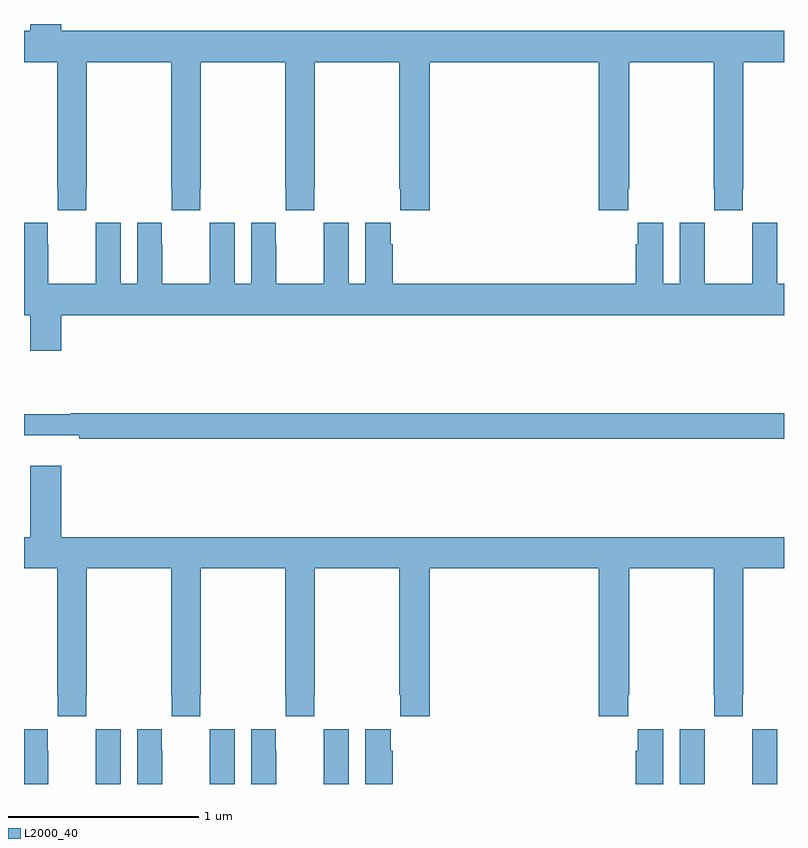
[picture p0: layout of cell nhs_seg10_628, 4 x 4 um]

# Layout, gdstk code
import gdstk
lib = gdstk.Library(unit=1e-6, precision=1e-09)
def P(c, l, *ps):  # polygons
    for p in ps: c.add(gdstk.Polygon(p, *l))
L2000_40 = (2000, 40)

nhs_seg10_628 = lib.new_cell('nhs_seg10_628')
P(nhs_seg10_628, L2000_40, [(141.327,1315.633),(141.33,1315.633),(141.33,1316.3),(141.775,1316.3),(141.775,1315.633),(141.777,1315.633),(141.777,1315.521),(141.927,1315.521),(141.927,1315.633),(141.93,1315.633),(141.93,1316.3),(142.375,1316.3),(142.375,1315.633),(142.377,1315.633),(142.377,1315.521),(142.527,1315.521),(142.527,1315.633),(142.53,1315.633),(142.53,1316.3),(142.975,1316.3),(142.975,1315.633),(142.981,1315.633),(142.981,1315.521),(143.135,1315.521),(143.135,1316.3),(144.026,1316.3),(144.026,1315.521),(144.179,1315.521),(144.179,1315.633),(144.186,1315.633),(144.186,1316.3),(144.631,1316.3),(144.631,1315.633),(144.633,1315.633),(144.633,1315.521),(144.783,1315.521),(144.783,1315.633),(144.786,1315.633),(144.786,1316.3),(145,1316.3),(145,1316.464),(141.196,1316.464),(141.196,1316.5),(141.032,1316.5),(141.032,1316.464),(141,1316.464),(141,1316.3),(141.175,1316.3),(141.175,1315.633),(141.177,1315.633),(141.177,1315.521),(141.327,1315.521)],
  [(145,1315.132),(144.964,1315.132),(144.964,1315.453),(144.834,1315.453),(144.834,1315.34),(144.833,1315.34),(144.833,1315.132),(144.583,1315.132),(144.583,1315.34),(144.582,1315.34),(144.582,1315.453),(144.452,1315.453),(144.452,1315.132),(144.364,1315.132),(144.364,1315.453),(144.23,1315.453),(144.23,1315.34),(144.221,1315.34),(144.221,1315.132),(142.94,1315.132),(142.94,1315.34),(142.93,1315.34),(142.93,1315.453),(142.796,1315.453),(142.796,1315.132),(142.708,1315.132),(142.708,1315.453),(142.578,1315.453),(142.578,1315.34),(142.577,1315.34),(142.577,1315.132),(142.327,1315.132),(142.327,1315.34),(142.326,1315.34),(142.326,1315.453),(142.196,1315.453),(142.196,1315.132),(142.108,1315.132),(142.108,1315.453),(141.978,1315.453),(141.978,1315.34),(141.977,1315.34),(141.977,1315.132),(141.727,1315.132),(141.727,1315.34),(141.726,1315.34),(141.726,1315.453),(141.596,1315.453),(141.596,1315.132),(141.508,1315.132),(141.508,1315.453),(141.378,1315.453),(141.378,1315.34),(141.377,1315.34),(141.377,1315.132),(141.127,1315.132),(141.127,1315.34),(141.126,1315.34),(141.126,1315.453),(141,1315.453),(141,1314.968),(141.032,1314.968),(141.032,1314.78),(141.196,1314.78),(141.196,1314.968),(145,1314.968)],
  [(145,1314.452),(141.245,1314.452),(141.245,1314.445),(141,1314.445),(141,1314.335),(141.292,1314.335),(141.292,1314.316),(145,1314.316)],
  [(141.327,1312.969),(141.33,1312.969),(141.33,1313.636),(141.775,1313.636),(141.775,1312.969),(141.777,1312.969),(141.777,1312.857),(141.927,1312.857),(141.927,1312.969),(141.93,1312.969),(141.93,1313.636),(142.375,1313.636),(142.375,1312.969),(142.377,1312.969),(142.377,1312.857),(142.527,1312.857),(142.527,1312.969),(142.53,1312.969),(142.53,1313.636),(142.975,1313.636),(142.975,1312.969),(142.981,1312.969),(142.981,1312.857),(143.135,1312.857),(143.135,1313.636),(144.026,1313.636),(144.026,1312.857),(144.179,1312.857),(144.179,1312.969),(144.186,1312.969),(144.186,1313.636),(144.631,1313.636),(144.631,1312.969),(144.633,1312.969),(144.633,1312.857),(144.783,1312.857),(144.783,1312.969),(144.786,1312.969),(144.786,1313.636),(145,1313.636),(145,1313.8),(141.196,1313.8),(141.196,1314.175),(141.032,1314.175),(141.032,1313.8),(141,1313.8),(141,1313.636),(141.175,1313.636),(141.175,1312.969),(141.177,1312.969),(141.177,1312.857),(141.327,1312.857)],
  [(142.108,1312.789),(141.978,1312.789),(141.978,1312.676),(141.977,1312.676),(141.977,1312.5),(142.108,1312.5)],
  [(141.508,1312.789),(141.378,1312.789),(141.378,1312.676),(141.377,1312.676),(141.377,1312.5),(141.508,1312.5)],
  [(141.727,1312.676),(141.726,1312.676),(141.726,1312.789),(141.596,1312.789),(141.596,1312.5),(141.727,1312.5)],
  [(142.327,1312.676),(142.326,1312.676),(142.326,1312.789),(142.196,1312.789),(142.196,1312.5),(142.327,1312.5)],
  [(142.708,1312.789),(142.578,1312.789),(142.578,1312.676),(142.577,1312.676),(142.577,1312.5),(142.708,1312.5)],
  [(142.94,1312.676),(142.93,1312.676),(142.93,1312.789),(142.796,1312.789),(142.796,1312.5),(142.94,1312.5)],
  [(144.364,1312.789),(144.23,1312.789),(144.23,1312.676),(144.221,1312.676),(144.221,1312.5),(144.364,1312.5)],
  [(144.583,1312.676),(144.582,1312.676),(144.582,1312.789),(144.452,1312.789),(144.452,1312.5),(144.583,1312.5)],
  [(144.964,1312.789),(144.834,1312.789),(144.834,1312.676),(144.833,1312.676),(144.833,1312.5),(144.964,1312.5)],
  [(141.127,1312.676),(141.126,1312.676),(141.126,1312.789),(141,1312.789),(141,1312.5),(141.127,1312.5)])

lib.write_gds('nhs_seg10_628.gds')
